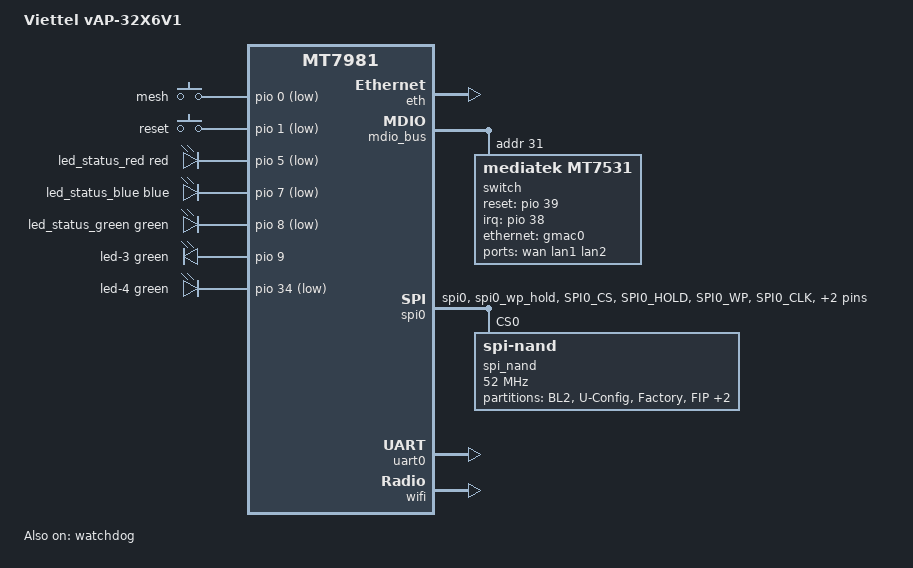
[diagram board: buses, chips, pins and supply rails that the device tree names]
// SPDX-License-Identifier: GPL-2.0-only OR MIT
/*
 * Viettel vAP-32X6V1 (OEM Askey, MT7981B + MT7976CN + MT7531AE, 256MB DDR3, 128MB SPI-NAND)
 *
 * Hardware facts verified against the stock firmware (OpenWrt 21.02 MTK SDK):
 *  - MT7531 switch, stock portmap "wllll": port0 = WAN, port1/port2 = LAN
 *    (only 3 RJ45 jacks are populated, no USB port)
 *  - reset button GPIO1, WPS/mesh button GPIO0, switch reset GPIO39
 *  - Ethernet MACs at Factory+0x24 (WAN) and Factory+0x2a (LAN), WiFi base
 *    MAC at Factory+0x4 (Factory+0x1fef20 is erased/0xff on retail units);
 *    matches stock board.json (LAN = label-1, WAN = label)
 *  - one RGB LED, verified by toggling GPIOs on the real unit:
 *    red GPIO5, blue GPIO7, green GPIO8 (all active-low). GPIO9 (active-high)
 *    and GPIO34 (active-low) are extra drivers of the same green die and must
 *    be kept off, otherwise green stays lit. GPIO35 is not connected to a LED.
 */

/dts-v1/;
#include <dt-bindings/gpio/gpio.h>
#include <dt-bindings/input/input.h>
#include <dt-bindings/leds/common.h>

#include "mt7981b.dtsi"

/ {
	model = "Viettel vAP-32X6V1";
	compatible = "viettel,32x6", "mediatek,mt7981";

	aliases {
		label-mac-device = &gmac0;

		led-boot = &led_status_red;
		led-failsafe = &led_status_red;
		led-running = &led_status_green;
		led-upgrade = &led_status_blue;

		serial0 = &uart0;
	};

	chosen {
		rootdisk = <&ubi_fit_volume>;
		stdout-path = "serial0:115200n8";
	};

	gpio-keys {
		compatible = "gpio-keys";

		button-0 {
			label = "mesh";
			gpios = <&pio 0 GPIO_ACTIVE_LOW>;
			linux,code = <KEY_WPS_BUTTON>;
			debounce-interval = <60>;
		};

		button-1 {
			label = "reset";
			gpios = <&pio 1 GPIO_ACTIVE_LOW>;
			linux,code = <KEY_RESTART>;
			debounce-interval = <60>;
		};
	};

	leds {
		compatible = "gpio-leds";

		led_status_red: led-0 {
			color = <LED_COLOR_ID_RED>;
			function = LED_FUNCTION_STATUS;
			gpios = <&pio 5 GPIO_ACTIVE_LOW>;
		};

		led_status_blue: led-1 {
			color = <LED_COLOR_ID_BLUE>;
			function = LED_FUNCTION_STATUS;
			gpios = <&pio 7 GPIO_ACTIVE_LOW>;
		};

		led_status_green: led-2 {
			color = <LED_COLOR_ID_GREEN>;
			function = LED_FUNCTION_STATUS;
			gpios = <&pio 8 GPIO_ACTIVE_LOW>;
		};

		/* secondary drivers of the green die, kept off by default */
		led-3 {
			color = <LED_COLOR_ID_GREEN>;
			function = LED_FUNCTION_WAN;
			gpios = <&pio 9 GPIO_ACTIVE_HIGH>;
			default-state = "off";
		};

		led-4 {
			color = <LED_COLOR_ID_GREEN>;
			function = LED_FUNCTION_WLAN;
			gpios = <&pio 34 GPIO_ACTIVE_LOW>;
			default-state = "off";
		};
	};
};

&eth {
	status = "okay";

	gmac0: mac@0 {
		compatible = "mediatek,eth-mac";
		reg = <0>;
		phy-mode = "2500base-x";

		nvmem-cell-names = "mac-address";
		nvmem-cells = <&macaddr_factory_2a 0>;

		fixed-link {
			speed = <2500>;
			full-duplex;
			pause;
		};
	};
};

&mdio_bus {
	switch: switch@1f {
		compatible = "mediatek,mt7531";
		reg = <0x1f>;
		reset-gpios = <&pio 39 GPIO_ACTIVE_HIGH>;
		interrupt-controller;
		#interrupt-cells = <1>;
		interrupt-parent = <&pio>;
		interrupts = <38 IRQ_TYPE_LEVEL_HIGH>;
	};
};

&spi0 {
	pinctrl-names = "default";
	pinctrl-0 = <&spi0_flash_pins>;
	status = "okay";

	spi_nand@0 {
		compatible = "spi-nand";
		reg = <0>;

		spi-max-frequency = <52000000>;
		spi-tx-bus-width = <4>;
		spi-rx-bus-width = <4>;

		spi-cal-enable;
		spi-cal-mode = "read-data";
		spi-cal-datalen = <7>;
		spi-cal-data = /bits/ 8 <0x53 0x50 0x49 0x4e 0x41 0x4e 0x44>;
		spi-cal-addrlen = <5>;
		spi-cal-addr = /bits/ 32 <0x0 0x0 0x0 0x0 0x0>;

		partitions {
			compatible = "fixed-partitions";
			#address-cells = <1>;
			#size-cells = <1>;

			partition@0 {
				label = "BL2";
				reg = <0x0 0x100000>;
				read-only;
			};

			/* KeeneticOS identity (multifw keenetic-init) */
			partition@100000 {
				label = "U-Config";
				reg = <0x100000 0x80000>;
			};

			partition@180000 {
				label = "Factory";
				reg = <0x180000 0x200000>;
				read-only;

				nvmem-layout {
					compatible = "fixed-layout";
					#address-cells = <1>;
					#size-cells = <1>;

					eeprom_factory_0: eeprom@0 {
						reg = <0x0 0x1000>;
					};

					macaddr_factory_24: macaddr@24 {
						compatible = "mac-base";
						reg = <0x24 0x6>;
						#nvmem-cell-cells = <1>;
					};

					macaddr_factory_2a: macaddr@2a {
						compatible = "mac-base";
						reg = <0x2a 0x6>;
						#nvmem-cell-cells = <1>;
					};
				};
			};

			partition@380000 {
				label = "FIP";
				reg = <0x380000 0x200000>;
				read-only;
			};

			partition@580000 {
				label = "ubi";
				reg = <0x580000 0x5a80000>;
				compatible = "linux,ubi";

				volumes {
					ubi_fit_volume: ubi-volume-fit {
						volname = "fit";
					};

					ubi_ubootenv: ubi-volume-ubootenv {
						volname = "ubootenv";
					};

					ubi_ubootenv2: ubi-volume-ubootenv2 {
						volname = "ubootenv2";
					};
				};
			};

			/* KeeneticOS (raw, no UBI): firmware, settings, U-State and an
			 * RF-EEPROM copy; booted by U-Boot when env mfw_os=keenetic */
			partition@6000000 {
				label = "keenetic";
				reg = <0x6000000 0x2000000>;
			};
		};
	};
};

&switch {
	ports {
		#address-cells = <1>;
		#size-cells = <0>;

		port@0 {
			reg = <0>;
			label = "wan";

			nvmem-cell-names = "mac-address";
			nvmem-cells = <&macaddr_factory_24 0>;
		};

		port@1 {
			reg = <1>;
			label = "lan1";
		};

		port@2 {
			reg = <2>;
			label = "lan2";
		};

		port@6 {
			reg = <6>;
			ethernet = <&gmac0>;
			phy-mode = "2500base-x";

			fixed-link {
				speed = <2500>;
				full-duplex;
				pause;
			};
		};
	};
};

&pio {
	spi0_flash_pins: spi0-pins {
		mux {
			function = "spi";
			groups = "spi0", "spi0_wp_hold";
		};

		conf-pu {
			pins = "SPI0_CS", "SPI0_HOLD", "SPI0_WP";
			drive-strength = <MTK_DRIVE_8mA>;
			bias-pull-up = <MTK_PUPD_SET_R1R0_11>;
		};

		conf-pd {
			pins = "SPI0_CLK", "SPI0_MOSI", "SPI0_MISO";
			drive-strength = <MTK_DRIVE_8mA>;
			bias-pull-down = <MTK_PUPD_SET_R1R0_11>;
		};
	};
};

&uart0 {
	status = "okay";
};

&ubi_ubootenv {
	nvmem-layout {
		compatible = "u-boot,env-redundant-bool";
	};
};

&ubi_ubootenv2 {
	nvmem-layout {
		compatible = "u-boot,env-redundant-bool";
	};
};

&watchdog {
	status = "okay";
};

&wifi {
	status = "okay";
	nvmem-cell-names = "eeprom";
	nvmem-cells = <&eeprom_factory_0>;
};
